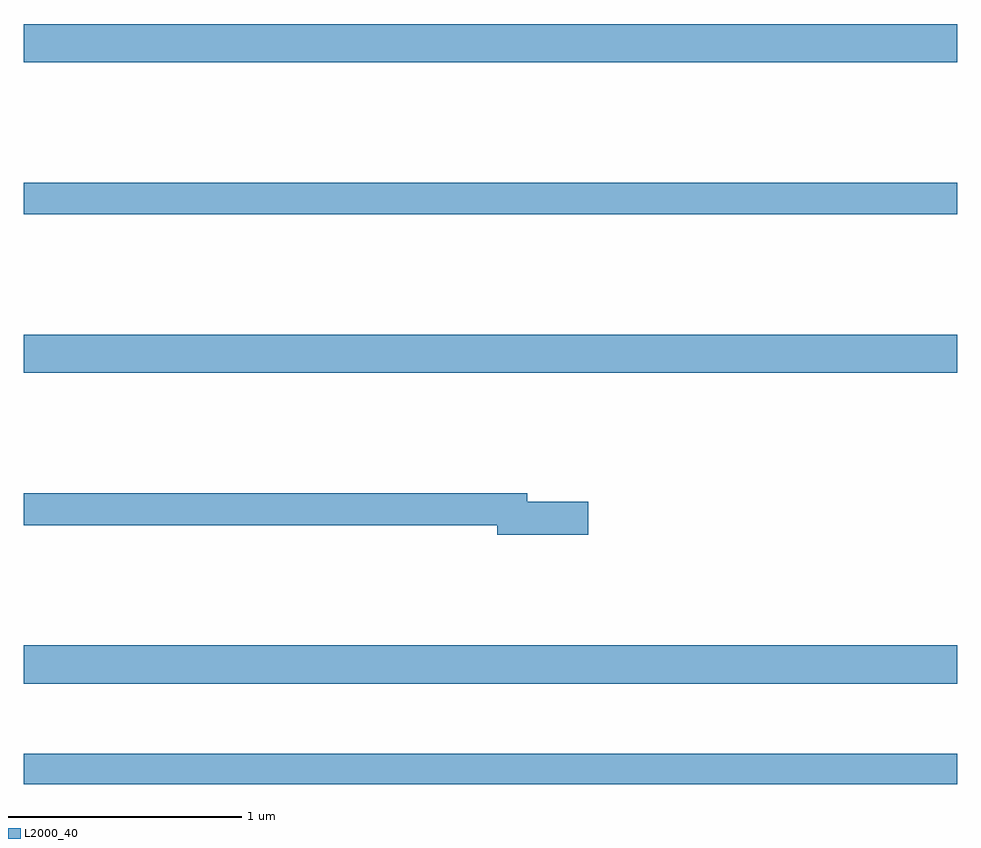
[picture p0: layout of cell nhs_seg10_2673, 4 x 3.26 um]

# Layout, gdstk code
import gdstk
lib = gdstk.Library(unit=1e-6, precision=1e-09)
def R(c, l, rs):  # rectangles x0, y0, x1, y1
    for r in rs: c.add(gdstk.rectangle(r[:2], r[2:], *l))
def A(c, l, x, y, w, h, nx, ny, dx, dy):  # array of equal rectangles
    R(c, l, [(x+i*dx, y+j*dy, x+i*dx+w, y+j*dy+h) for i in range(nx) for j in range(ny)])
def P(c, l, *ps):  # polygons
    for p in ps: c.add(gdstk.Polygon(p, *l))
L2000_40 = (2000, 40)

nhs_seg10_2673 = lib.new_cell('nhs_seg10_2673')
A(nhs_seg10_2673, L2000_40, 255, 1317.632, 4, 0.164, 1, 3, 0, 1.332)
R(nhs_seg10_2673, L2000_40, [(255,1317.202,259,1317.331), (255,1319.644,259,1319.78)])
P(nhs_seg10_2673, L2000_40, [(257.419,1318.412),(257.158,1318.412),(257.158,1318.448),(255,1318.448),(255,1318.312),(257.03,1318.312),(257.03,1318.27),(257.419,1318.27)])

lib.write_gds('nhs_seg10_2673.gds')
